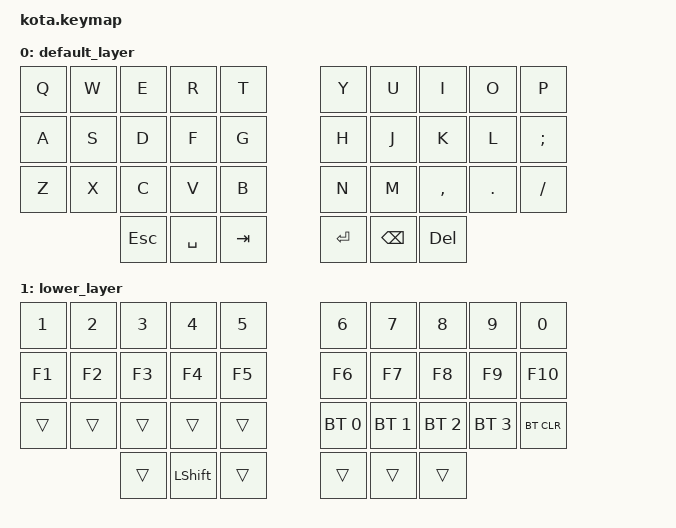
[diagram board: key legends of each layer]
/*
 * Copyright (c) 2020 The ZMK Contributors
 *
 * SPDX-License-Identifier: MIT
 */

#include <behaviors.dtsi>
#include <dt-bindings/zmk/keys.h>
#include <dt-bindings/zmk/bt.h>

/ {
    keymap {
        compatible = "zmk,keymap";

        default_layer {
            // --------------------|  |--------------------------
            // |  Q |  W |  E |  R |  |  T |  Y |  U |  I |  O |  P |
            // |  A |  S |  D |  F |  |  G |  H |  J |  K |  L |  ; |
            // |  Z |  X |  C |  V |  |  B |  N |  M |  , |  . |  / |
            //      | ESC| SPC| TAB|  | ENT| BSPC| DEL|
            bindings = <
                &kp Q &kp W &kp E &kp R     &kp T &kp Y &kp U  &kp I     &kp O   &kp P
                &kp A &kp S &kp D &kp F     &kp G &kp H &kp J  &kp K     &kp L   &kp SEMI
                &kp Z &kp X &kp C &kp V     &kp B &kp N &kp M  &kp COMMA &kp DOT &kp SLASH
                &kp ESC &kp SPACE &kp TAB   &kp RET &kp BSPC &kp DEL
            >;
        };

        lower_layer {
            // ---------------------|  |---------------------------
            // |  1 |  2 |  3 |  4 |  |  5 |  6 |  7 |  8 |  9 |  0 |
            // | F1 | F2 | F3 | F4 |  | F5 | F6 | F7 | F8 | F9 | F10|
            // |    |    |    |    |  |    | BT1| BT2| BT3| BT4| BTC|
            //      |    | SFT|    |  |    |    |    |
            bindings = <
                &kp N1 &kp N2 &kp N3 &kp N4     &kp N5 &kp N6 &kp N7 &kp N8 &kp N9 &kp N0
                &kp F1 &kp F2 &kp F3 &kp F4     &kp F5 &kp F6 &kp F7 &kp F8 &kp F9 &kp F10
                &trans &trans &trans &trans     &trans &bt BT_SEL 0 &bt BT_SEL 1 &bt BT_SEL 2 &bt BT_SEL 3 &bt BT_CLR
                &trans &kp LSHIFT &trans        &trans &trans &trans
            >;
        };
    };
};
